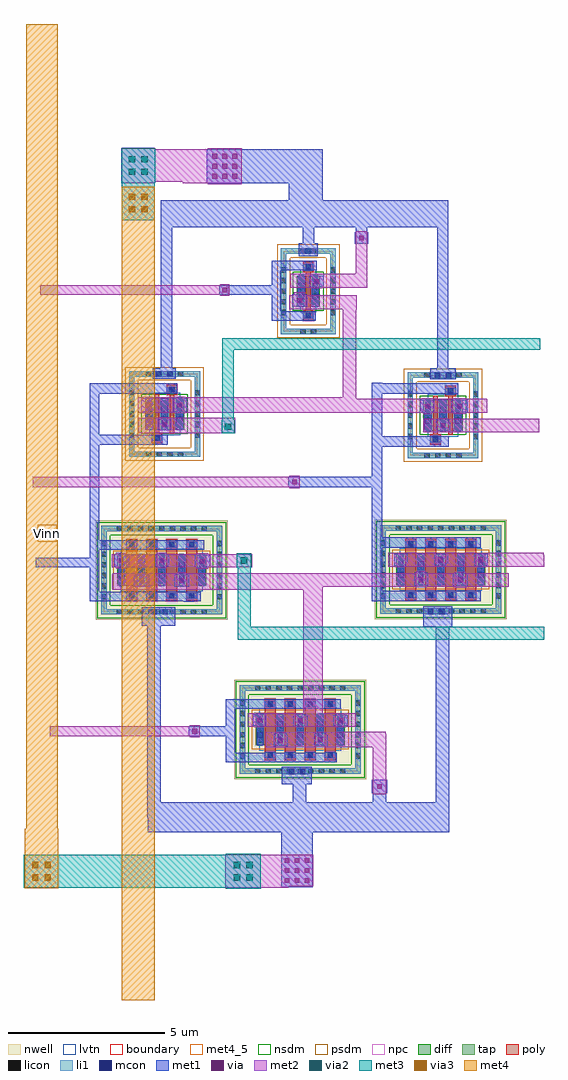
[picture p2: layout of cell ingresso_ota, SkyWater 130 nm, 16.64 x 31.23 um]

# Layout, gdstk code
import gdstk
lib = gdstk.Library(unit=1e-6, precision=1e-09)
def R(c, l, rs):  # rectangles x0, y0, x1, y1
    for r in rs: c.add(gdstk.rectangle(r[:2], r[2:], *l))
def A(c, l, x, y, w, h, nx, ny, dx, dy):  # array of equal rectangles
    R(c, l, [(x+i*dx, y+j*dy, x+i*dx+w, y+j*dy+h) for i in range(nx) for j in range(ny)])
nwell = (64, 20)
diff = (65, 20)
tap = (65, 44)
poly = (66, 20)
licon = (66, 44)
li1 = (67, 20)
mcon = (67, 44)
met1 = (68, 20)
via = (68, 44)
met2 = (69, 20)
via2 = (69, 44)
met3 = (70, 20)
via3 = (70, 44)
met4_5 = (71, 5)
met4 = (71, 20)
nsdm = (93, 44)
psdm = (94, 20)
npc = (95, 20)
lvtn = (125, 44)
boundary = (235, 4)

sky130_fd_pr__pfet_01v8_ = lib.new_cell('sky130_fd_pr__pfet_01v8_lvt_4QBKD3')
R(sky130_fd_pr__pfet_01v8_, nwell, [(-2.115,-1.595,2.115,1.595)])
R(sky130_fd_pr__pfet_01v8_, diff, [(-1.425,-0.5,1.425,0.5)])
R(sky130_fd_pr__pfet_01v8_, tap, [(-1.935,-1.415,1.935,-1.245), (-1.935,-1.245,-1.765,1.245), (1.765,-1.245,1.935,1.245), (-1.935,1.245,1.935,1.415)])
A(sky130_fd_pr__pfet_01v8_, poly, -1.135, -0.985, 0.35, 1.97, 4, 1, 0.64, 0)
A(sky130_fd_pr__pfet_01v8_, licon, -1.445, -1.415, 0.17, 0.17, 9, 2, 0.34, 2.66)
A(sky130_fd_pr__pfet_01v8_, licon, -1.935, -0.935, 0.17, 0.17, 1, 6, 0, 0.34)
A(sky130_fd_pr__pfet_01v8_, licon, 1.765, -0.935, 0.17, 0.17, 1, 6, 0, 0.34)
A(sky130_fd_pr__pfet_01v8_, licon, -1.045, -0.905, 0.17, 0.17, 4, 2, 0.64, 1.64)
A(sky130_fd_pr__pfet_01v8_, licon, -1.365, -0.425, 0.17, 0.17, 5, 3, 0.64, 0.34)
A(sky130_fd_pr__pfet_01v8_, li1, -1.135, -0.905, 0.35, 0.17, 4, 2, 0.64, 1.64)
A(sky130_fd_pr__pfet_01v8_, li1, -1.365, -0.52, 0.17, 1.04, 5, 1, 0.64, 0)
R(sky130_fd_pr__pfet_01v8_, li1, [(-1.935,-1.415,1.935,-1.245), (-1.935,-1.245,-1.765,1.245), (1.765,-1.245,1.935,1.245), (-1.935,1.245,1.935,1.415)])
A(sky130_fd_pr__pfet_01v8_, mcon, -1.045, -0.905, 0.17, 0.17, 4, 2, 0.64, 1.64)
A(sky130_fd_pr__pfet_01v8_, mcon, -1.365, -0.265, 0.17, 0.17, 5, 2, 0.64, 0.36)
A(sky130_fd_pr__pfet_01v8_, met1, -1.115, -0.935, 0.31, 0.23, 4, 2, 0.64, 1.64)
A(sky130_fd_pr__pfet_01v8_, met1, -1.395, -0.5, 0.23, 1, 5, 1, 0.64, 0)
R(sky130_fd_pr__pfet_01v8_, nsdm, [(-2.06,-1.54,2.06,-1.12), (-2.06,-1.12,-1.64,1.12), (1.64,-1.12,2.06,1.12), (-2.06,1.12,2.06,1.54)])
R(sky130_fd_pr__pfet_01v8_, psdm, [(-1.55,-0.625,1.55,0.625)])
A(sky130_fd_pr__pfet_01v8_, npc, -1.145, -1.005, 0.37, 0.37, 4, 2, 0.64, 1.64)
R(sky130_fd_pr__pfet_01v8_, lvtn, [(-1.315,-0.68,1.315,0.68)])
R(sky130_fd_pr__pfet_01v8_, boundary, [(-1.85,-1.33,1.85,1.33)])

sky130_fd_pr__nfet_01v8_ = lib.new_cell('sky130_fd_pr__nfet_01v8_lvt_DJ7QE5')
R(sky130_fd_pr__nfet_01v8_, diff, [(-0.625,-0.5,0.625,0.5)])
R(sky130_fd_pr__nfet_01v8_, tap, [(-1.135,-1.37,1.135,-1.2), (-1.135,-1.2,-0.965,1.2), (0.965,-1.2,1.135,1.2), (-1.135,1.2,1.135,1.37)])
R(sky130_fd_pr__nfet_01v8_, poly, [(-0.405,-0.94,-0.075,-0.61), (0.165,-0.63,0.315,0.61), (-0.315,-0.61,-0.165,0.63), (0.075,0.61,0.405,0.94)])
A(sky130_fd_pr__nfet_01v8_, licon, -0.595, -1.37, 0.17, 0.17, 4, 2, 0.34, 2.57)
A(sky130_fd_pr__nfet_01v8_, licon, -1.135, -0.765, 0.17, 0.17, 1, 5, 0, 0.34)
A(sky130_fd_pr__nfet_01v8_, licon, 0.965, -0.765, 0.17, 0.17, 1, 5, 0, 0.34)
A(sky130_fd_pr__nfet_01v8_, licon, -0.565, -0.425, 0.17, 0.17, 3, 3, 0.48, 0.34)
R(sky130_fd_pr__nfet_01v8_, licon, [(-0.325,-0.86,-0.155,-0.69), (0.155,0.69,0.325,0.86)])
A(sky130_fd_pr__nfet_01v8_, li1, -0.565, -0.52, 0.17, 1.04, 3, 1, 0.48, 0)
R(sky130_fd_pr__nfet_01v8_, li1, [(-1.135,-1.37,1.135,-1.2), (-1.135,-1.2,-0.965,1.2), (0.965,-1.2,1.135,1.2), (-0.405,-0.86,-0.075,-0.69), (0.075,0.69,0.405,0.86), (-1.135,1.2,1.135,1.37)])
A(sky130_fd_pr__nfet_01v8_, mcon, -0.565, -0.265, 0.17, 0.17, 3, 2, 0.48, 0.36)
R(sky130_fd_pr__nfet_01v8_, mcon, [(-0.325,-0.86,-0.155,-0.69), (0.155,0.69,0.325,0.86)])
A(sky130_fd_pr__nfet_01v8_, met1, -0.595, -0.5, 0.23, 1, 3, 1, 0.48, 0)
R(sky130_fd_pr__nfet_01v8_, met1, [(-0.385,-0.89,-0.095,-0.66), (0.095,0.66,0.385,0.89)])
R(sky130_fd_pr__nfet_01v8_, nsdm, [(-0.75,-0.625,0.75,0.625)])
R(sky130_fd_pr__nfet_01v8_, psdm, [(-1.26,-1.495,1.26,-1.075), (-1.26,-1.075,-0.84,1.075), (0.84,-1.075,1.26,1.075), (-1.26,1.075,1.26,1.495)])
R(sky130_fd_pr__nfet_01v8_, npc, [(-0.425,-0.96,-0.055,-0.59), (0.055,0.59,0.425,0.96)])
R(sky130_fd_pr__nfet_01v8_, lvtn, [(-0.495,-0.68,0.495,0.68)])
R(sky130_fd_pr__nfet_01v8_, boundary, [(-1.05,-1.285,1.05,1.285)])

c_sky130_fd_pr__nfet_01v8_ = lib.new_cell('sky130_fd_pr__nfet_01v8_lvt_648S5X')
R(c_sky130_fd_pr__nfet_01v8_, diff, [(-0.365,-0.5,0.365,0.5)])
R(c_sky130_fd_pr__nfet_01v8_, tap, [(-0.875,-1.37,0.875,-1.2), (-0.875,-1.2,-0.705,1.2), (0.705,-1.2,0.875,1.2), (-0.875,1.2,0.875,1.37)])
R(c_sky130_fd_pr__nfet_01v8_, poly, [(-0.165,-0.94,0.165,-0.61), (-0.075,-0.61,0.075,0.61), (-0.165,0.61,0.165,0.94)])
A(c_sky130_fd_pr__nfet_01v8_, licon, -0.875, -0.765, 0.17, 0.17, 1, 5, 0, 0.34)
A(c_sky130_fd_pr__nfet_01v8_, licon, 0.705, -0.765, 0.17, 0.17, 1, 5, 0, 0.34)
A(c_sky130_fd_pr__nfet_01v8_, licon, -0.305, -0.425, 0.17, 0.17, 1, 3, 0, 0.34)
A(c_sky130_fd_pr__nfet_01v8_, licon, 0.135, -0.425, 0.17, 0.17, 1, 3, 0, 0.34)
R(c_sky130_fd_pr__nfet_01v8_, licon, [(-0.255,-1.37,-0.085,-1.2), (0.085,-1.37,0.255,-1.2), (-0.085,-0.86,0.085,-0.69), (-0.085,0.69,0.085,0.86), (-0.255,1.2,-0.085,1.37), (0.085,1.2,0.255,1.37)])
R(c_sky130_fd_pr__nfet_01v8_, li1, [(-0.875,-1.37,0.875,-1.2), (-0.875,-1.2,-0.705,1.2), (0.705,-1.2,0.875,1.2), (-0.165,-0.86,0.165,-0.69), (-0.305,-0.52,-0.135,0.52), (0.135,-0.52,0.305,0.52), (-0.165,0.69,0.165,0.86), (-0.875,1.2,0.875,1.37)])
R(c_sky130_fd_pr__nfet_01v8_, mcon, [(-0.085,-0.86,0.085,-0.69), (-0.305,-0.265,-0.135,-0.095), (0.135,-0.265,0.305,-0.095), (-0.305,0.095,-0.135,0.265), (0.135,0.095,0.305,0.265), (-0.085,0.69,0.085,0.86)])
R(c_sky130_fd_pr__nfet_01v8_, met1, [(-0.145,-0.89,0.145,-0.66), (-0.335,-0.5,-0.105,0.5), (0.105,-0.5,0.335,0.5), (-0.145,0.66,0.145,0.89)])
R(c_sky130_fd_pr__nfet_01v8_, nsdm, [(-0.49,-0.625,0.49,0.625)])
R(c_sky130_fd_pr__nfet_01v8_, psdm, [(-1,-1.495,1,-1.075), (-1,-1.075,-0.58,1.075), (0.58,-1.075,1,1.075), (-1,1.075,1,1.495)])
R(c_sky130_fd_pr__nfet_01v8_, npc, [(-0.185,-0.96,0.185,-0.59), (-0.185,0.59,0.185,0.96)])
R(c_sky130_fd_pr__nfet_01v8_, lvtn, [(-0.255,-0.68,0.255,0.68)])
R(c_sky130_fd_pr__nfet_01v8_, boundary, [(-0.79,-1.285,0.79,1.285)])

ingresso_ota = lib.new_cell('ingresso_ota')
R(ingresso_ota, li1, [(10.84,-16.19,11.65,-16), (6.44,-11.07,7.25,-10.9), (15.34,-11.06,16.07,-10.89), (15.58,-3.51,16.24,-3.32), (6.7,-3.47,7.29,-3.29), (11.35,0.47,11.83,0.64)])
R(ingresso_ota, mcon, [(10.98,-16.18,11.15,-16.01), (11.34,-16.18,11.51,-16.01), (6.58,-11.07,6.75,-10.9), (6.94,-11.07,7.11,-10.9), (15.44,-11.06,15.61,-10.89), (15.8,-11.06,15.97,-10.89), (15.645,-3.5,15.815,-3.33), (16.005,-3.5,16.175,-3.33), (6.73,-3.465,6.9,-3.295), (7.09,-3.465,7.26,-3.295), (11.505,0.47,11.675,0.64)])
R(ingresso_ota, met1, [(10.74,-19.8,11.74,-18.05), (6.46,-18.05,16.12,-17.555), (6.455,-17.555,16.12,-17.08), (6.455,-17.08,6.885,-11.43), (11.115,-17.08,11.545,-16.5), (13.665,-17.08,14.095,-16.795), (15.685,-17.08,16.115,-11.46), (13.635,-16.795,14.125,-16.365), (10.76,-16.5,11.71,-15.95), (8.965,-15.805,12.515,-15.495), (8.965,-15.495,9.275,-14.965), (10.5,-15.29,10.94,-14.94), (11.79,-15.27,12.23,-14.93), (7.785,-14.965,9.275,-14.655), (10.52,-14.94,10.91,-14.88), (11.8,-14.93,12.18,-14.88), (8.965,-14.655,9.275,-14.09), (11.12,-14.64,11.58,-14.32), (12.41,-14.64,12.86,-14.3), (9.82,-14.63,10.26,-14.27), (11.17,-14.32,11.53,-14.29), (12.46,-14.3,12.84,-14.28), (8.965,-14.09,12.65,-13.78), (15.28,-11.46,16.21,-10.81), (6.27,-11.43,7.35,-10.85), (7.625,-10.66,7.95,-10.65), (13.64,-10.655,13.975,-10.65), (4.615,-10.65,8.17,-10.35), (13.64,-10.65,17.125,-10.315), (4.615,-10.35,4.915,-9.56), (13.64,-10.315,13.975,-8.94), (7.31,-10.19,7.79,-9.81), (6.02,-10.18,6.51,-9.81), (16.27,-10.17,16.71,-10.16), (14.99,-10.16,15.44,-9.78), (16.23,-10.16,16.71,-9.77), (7.36,-9.81,7.73,-9.78), (15.01,-9.78,15.41,-9.73), (16.28,-9.77,16.69,-9.75), (2.88,-9.56,4.915,-9.26), (7.97,-9.56,8.46,-9.17), (6.71,-9.55,7.13,-9.49), (5.4,-9.54,5.83,-9.46), (14.35,-9.51,14.74,-9.44), (16.91,-9.51,17.33,-9.43), (15.64,-9.5,16.02,-9.44), (6.7,-9.49,7.15,-9.2), (5.4,-9.46,5.87,-9.18), (14.35,-9.44,14.79,-9.2), (15.63,-9.44,16.08,-9.14), (16.91,-9.43,17.34,-9.2), (4.615,-9.26,4.915,-9), (6.71,-9.2,7.13,-9.15), (14.36,-9.2,14.79,-9.13), (16.92,-9.2,17.34,-9.13), (5.4,-9.18,5.83,-9.15), (4.615,-9,8.27,-8.7), (13.64,-8.94,17.125,-8.605), (4.615,-8.7,4.915,-5.645), (13.64,-8.605,13.975,-7), (10.965,-7,13.975,-6.665), (13.64,-6.665,13.975,-5.705), (13.64,-5.705,16.105,-5.375), (4.615,-5.645,7.095,-5.63), (4.615,-5.63,7.1,-5.34), (13.64,-5.375,13.975,-4.015), (4.615,-5.34,7.095,-5.32), (4.615,-5.32,4.915,-4.015), (15.76,-5.2,16.14,-5.18), (6.81,-5.18,7.2,-5.17), (15.7,-5.18,16.14,-4.94), (6.79,-5.17,7.22,-4.82), (15.7,-4.94,16.12,-4.85), (15.24,-4.61,15.6,-4.56), (16.18,-4.6,16.71,-4.21), (7.26,-4.59,7.72,-4.16), (6.26,-4.58,6.68,-4.48), (15.18,-4.56,15.64,-4.2), (6.26,-4.48,6.69,-4.19), (6.26,-4.19,6.68,-4.16), (4.615,-4.015,7.405,-4.005), (13.64,-4.015,16.4,-3.68), (4.615,-4.005,7.41,-3.68), (4.615,-3.68,4.915,-3.67), (13.64,-3.68,13.975,-3.655), (15.51,-3.54,16.32,-3.2), (6.63,-3.53,7.36,-3.19), (15.725,-3.2,16.09,1.31), (6.89,-3.19,7.255,1.31), (10.43,-1.68,10.73,-1.67), (10.43,-1.67,11.84,-1.37), (10.43,-1.37,10.73,-0.84), (11.17,-1.23,11.57,-1.22), (11.09,-1.22,11.57,-0.94), (11.09,-0.94,11.55,-0.82), (8.75,-0.84,10.73,-0.54), (11.64,-0.59,12.1,-0.24), (10.43,-0.54,10.73,-0.06), (10.43,-0.06,11.87,0.24), (11.3,0.39,11.9,0.8), (13.095,0.795,13.52,1.16), (11.43,0.8,11.795,1.31), (13.125,1.16,13.49,1.31), (6.89,1.31,16.09,1.71), (6.89,1.71,16.08,2.18), (10.98,2.18,12.06,2.73), (8.36,2.73,12.06,3.81)])
A(ingresso_ota, via, 10.845, -19.665, 0.15, 0.15, 3, 3, 0.32, 0.32)
A(ingresso_ota, via, 8.535, 2.875, 0.15, 0.15, 3, 3, 0.32, 0.32)
R(ingresso_ota, via, [(13.805,-16.655,13.955,-16.505), (10.645,-15.19,10.795,-15.04), (11.915,-15.15,12.065,-15), (7.895,-14.885,8.045,-14.735), (11.275,-14.54,11.425,-14.39), (12.575,-14.535,12.725,-14.385), (9.965,-14.525,10.115,-14.375), (6.19,-10.07,6.34,-9.92), (7.47,-10.06,7.62,-9.91), (15.14,-10.045,15.29,-9.895), (16.395,-10.04,16.545,-9.89), (8.14,-9.44,8.29,-9.29), (6.845,-9.425,6.995,-9.275), (5.54,-9.42,5.69,-9.27), (15.755,-9.395,15.905,-9.245), (17.05,-9.395,17.2,-9.245), (11.085,-6.91,11.235,-6.76), (15.845,-5.1,15.995,-4.95), (6.93,-5.07,7.08,-4.92), (15.345,-4.48,15.495,-4.33), (16.37,-4.48,16.52,-4.33), (7.415,-4.45,7.565,-4.3), (6.395,-4.445,6.545,-4.295), (11.255,-1.1,11.405,-0.95), (8.855,-0.765,9.005,-0.615), (11.795,-0.49,11.945,-0.34), (13.23,0.9,13.38,1.05)])
R(ingresso_ota, met2, [(8.94,-19.825,10.96,-19.77), (8.94,-19.77,11.77,-18.77), (8.94,-18.77,10.96,-18.755), (13.665,-16.825,14.095,-15.33), (10.55,-15.34,10.89,-15.33), (10.25,-15.33,14.095,-14.9), (7.815,-14.995,8.125,-14.965), (3.335,-14.965,8.125,-14.655), (10.25,-14.9,14.09,-14.83), (11.17,-14.69,11.53,-14.67), (12.46,-14.69,12.81,-14.67), (9.87,-14.68,10.21,-14.67), (9.66,-14.67,13.13,-14.23), (7.815,-14.655,8.125,-14.625), (9.87,-14.23,10.21,-14.22), (11.45,-14.23,12.07,-10.28), (5.34,-10.28,12.07,-10.27), (5.33,-10.27,12.07,-10.18), (16.32,-10.22,16.66,-10.21), (15.04,-10.21,15.39,-10.18), (16.28,-10.21,16.66,-10.18), (5.33,-10.18,18.02,-9.78), (5.35,-9.78,18.02,-9.75), (7.41,-9.75,7.68,-9.73), (15.04,-9.75,15.39,-9.73), (16.28,-9.75,16.66,-9.72), (15.06,-9.73,15.36,-9.68), (16.33,-9.72,16.64,-9.7), (8.02,-9.61,8.41,-9.56), (6.76,-9.6,7.08,-9.56), (5.45,-9.59,5.78,-9.56), (5.32,-9.56,9.805,-9.14), (14.4,-9.56,14.69,-9.54), (16.96,-9.56,17.28,-9.54), (15.69,-9.55,15.97,-9.54), (14.17,-9.54,19.15,-9.18), (14.17,-9.18,19.145,-9.1), (5.45,-9.14,5.78,-9.1), (6.76,-9.14,7.08,-9.1), (8.02,-9.14,8.41,-9.12), (10.995,-7.03,11.33,-7), (2.795,-7,11.33,-6.665), (10.995,-6.665,11.33,-6.635), (6.16,-5.28,9.26,-5.245), (15.81,-5.25,16.09,-5.24), (6.16,-5.245,9.265,-5.24), (6.16,-5.24,9.27,-4.83), (15.29,-5.24,18.99,-5.225), (15.29,-5.225,19,-4.86), (15.29,-4.86,18.99,-4.81), (6.17,-4.83,9.27,-4.78), (15.75,-4.81,16.07,-4.8), (6.84,-4.78,7.17,-4.77), (15.29,-4.66,15.55,-4.62), (16.23,-4.65,16.66,-4.62), (7.31,-4.64,7.67,-4.62), (6.31,-4.63,6.63,-4.62), (6.18,-4.62,17.33,-4.55), (6.14,-4.55,17.33,-4.18), (6.14,-4.18,17.31,-4.175), (6.14,-4.175,13.145,-4.13), (15.23,-4.175,15.59,-4.15), (16.23,-4.175,16.66,-4.16), (6.31,-4.13,6.63,-4.11), (7.31,-4.13,7.67,-4.11), (12.7,-4.13,13.14,-1.3), (11,-1.3,13.16,-0.86), (8.78,-0.87,9.08,-0.84), (11.14,-0.86,11.5,-0.77), (3.03,-0.84,9.08,-0.54), (11.69,-0.64,12.05,-0.62), (11.02,-0.62,13.49,-0.17), (8.78,-0.54,9.08,-0.51), (13.125,-0.17,13.49,1.19), (8.39,2.7,9.47,2.73), (5.64,2.725,6.685,2.77), (7.59,2.73,9.47,2.77), (5.64,2.77,9.47,3.815), (5.64,3.815,6.685,3.86), (8.39,3.815,9.47,3.84)])
R(ingresso_ota, via2, [(9.22,-19.59,9.42,-19.39), (9.62,-19.59,9.82,-19.39), (9.22,-19.19,9.42,-18.99), (9.62,-19.19,9.82,-18.99), (9.45,-9.45,9.65,-9.25), (8.935,-5.165,9.135,-4.965), (5.86,2.99,6.06,3.19), (6.26,2.99,6.46,3.19), (5.86,3.39,6.06,3.59), (6.26,3.39,6.46,3.59)])
R(ingresso_ota, met3, [(8.96,-19.85,10.08,-19.825), (2.505,-19.825,10.08,-18.755), (8.96,-18.755,10.08,-18.73), (9.34,-11.89,19.15,-11.47), (9.34,-11.47,9.76,-9.585), (9.315,-9.585,9.785,-9.115), (8.83,-5.27,9.245,-4.855), (8.855,-4.855,9.22,-2.605), (8.855,-2.605,19.02,-2.24), (5.64,1.54,6.685,2.745), (5.615,2.745,6.71,3.84)])
R(ingresso_ota, via3, [(2.77,-19.59,2.97,-19.39), (3.17,-19.59,3.37,-19.39), (2.77,-19.19,2.97,-18.99), (3.17,-19.19,3.37,-18.99), (5.86,1.79,6.06,1.99), (6.26,1.79,6.46,1.99), (5.86,2.19,6.06,2.39), (6.26,2.19,6.46,2.39)])
R(ingresso_ota, met4_5, [(2.95,-8.74,3.55,-8.2)])
R(ingresso_ota, met4, [(5.64,-23.41,6.685,1.565), (2.53,-19.83,3.61,-18.75), (2.535,-18.75,3.605,-17.925), (2.58,-17.925,3.58,7.82), (5.635,1.565,6.69,2.62)])
ingresso_ota.add(gdstk.Reference(sky130_fd_pr__pfet_01v8_, (15.845,-9.635)))
ingresso_ota.add(gdstk.Reference(sky130_fd_pr__nfet_01v8_, (7.005,-4.66)))
ingresso_ota.add(gdstk.Reference(sky130_fd_pr__pfet_01v8_, (6.915,-9.655)))
ingresso_ota.add(gdstk.Reference(sky130_fd_pr__nfet_01v8_, (15.915,-4.7)))
ingresso_ota.add(gdstk.Reference(sky130_fd_pr__pfet_01v8_, (11.345,-14.755)))
ingresso_ota.add(gdstk.Reference(c_sky130_fd_pr__nfet_01v8_, (11.605,-0.73)))
ingresso_ota.add(gdstk.Label('Vinn', (3.25,-8.47), layer=71, texttype=5))

lib.write_gds('ingresso_ota.gds')
